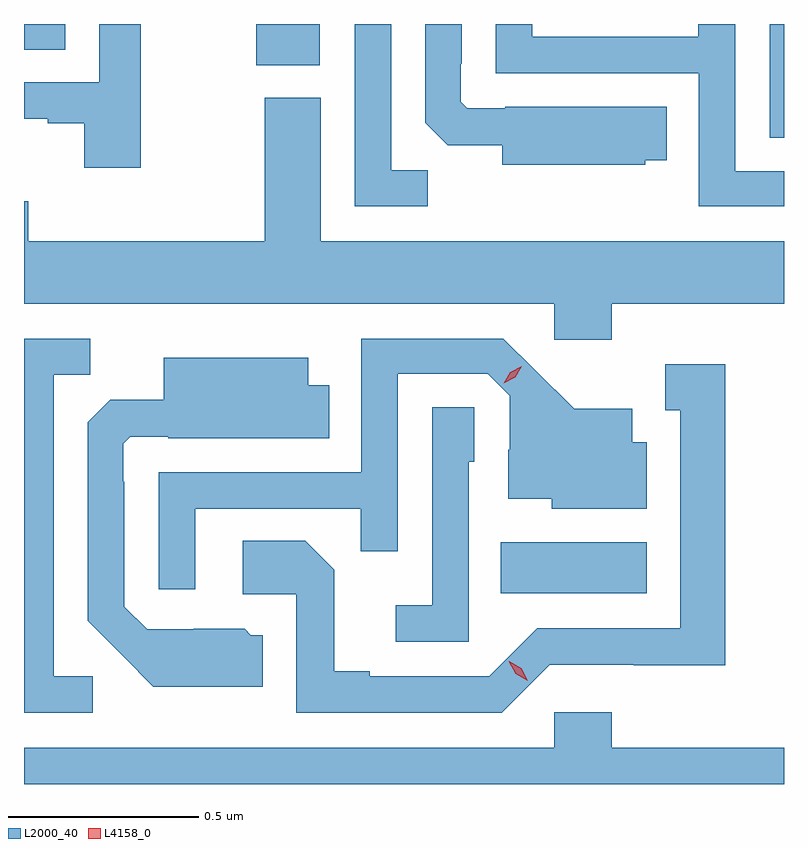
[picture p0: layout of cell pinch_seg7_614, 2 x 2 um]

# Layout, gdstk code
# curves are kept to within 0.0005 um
import gdstk
lib = gdstk.Library(unit=1e-6, precision=1e-09)
def R(c, l, rs):  # rectangles x0, y0, x1, y1
    for r in rs: c.add(gdstk.rectangle(r[:2], r[2:], *l))
def P(c, l, *ps):  # polygons
    for p in ps: c.add(gdstk.Polygon(p, *l))
L2000_40 = (2000, 40)
L4158_0 = (4158, 0)

pinch_seg7_614 = lib.new_cell('pinch_seg7_614')
R(pinch_seg7_614, L2000_40, [(123.382,1049.138,123.766,1049.272), (124.089,1050.337,124.127,1050.636), (122.738,1050.527,122.905,1050.636), (122.127,1050.568,122.236,1050.636)])
P(pinch_seg7_614, L2000_40, [(124.127,1050.249),(123.999,1050.249),(123.999,1050.636),(123.901,1050.636),(123.901,1050.603),(123.465,1050.603),(123.465,1050.636),(123.369,1050.636),(123.369,1050.507),(123.903,1050.507),(123.903,1050.156),(124.127,1050.156)],
  [(123.762,1050.278),(123.818,1050.278),(123.818,1050.418),(123.394,1050.418),(123.394,1050.414),(123.294,1050.414),(123.276,1050.432),(123.276,1050.532),(123.279,1050.532),(123.279,1050.636),(123.183,1050.636),(123.183,1050.376),(123.242,1050.317),(123.386,1050.317),(123.386,1050.266),(123.762,1050.266)],
  [(122.434,1050.636),(122.325,1050.636),(122.325,1050.483),(122.127,1050.483),(122.127,1050.387),(122.189,1050.387),(122.189,1050.375),(122.285,1050.375),(122.285,1050.258),(122.434,1050.258)],
  [(123.189,1050.251),(123.093,1050.251),(123.093,1050.636),(122.997,1050.636),(122.997,1050.156),(123.189,1050.156)],
  [(123.674,1049.9),(124.127,1049.9),(124.127,1050.064),(122.908,1050.064),(122.908,1050.442),(122.761,1050.442),(122.761,1050.064),(122.138,1050.064),(122.138,1050.17),(122.127,1050.17),(122.127,1049.9),(123.522,1049.9),(123.522,1049.805),(123.674,1049.805)],
  [(122.308,1048.92),(122.205,1048.92),(122.205,1049.713),(122.301,1049.713),(122.301,1049.808),(122.127,1049.808),(122.127,1048.824),(122.308,1048.824)],
  [(122.577,1049.361),(123.013,1049.361),(123.013,1049.248),(123.111,1049.248),(123.111,1049.715),(123.348,1049.715),(123.405,1049.658),(123.405,1049.516),(123.401,1049.516),(123.401,1049.387),(123.516,1049.387),(123.516,1049.36),(123.766,1049.36),(123.766,1049.536),(123.727,1049.536),(123.727,1049.623),(123.575,1049.623),(123.388,1049.808),(123.015,1049.808),(123.015,1049.457),(122.481,1049.457),(122.481,1049.148),(122.577,1049.148)],
  [(122.755,1049.028),(122.724,1049.028),(122.708,1049.044),(122.574,1049.044),(122.574,1049.043),(122.451,1049.043),(122.391,1049.103),(122.391,1049.432),(122.388,1049.432),(122.388,1049.532),(122.406,1049.55),(122.506,1049.55),(122.506,1049.546),(122.93,1049.546),(122.93,1049.686),(122.875,1049.686),(122.875,1049.758),(122.495,1049.758),(122.495,1049.647),(122.354,1049.647),(122.295,1049.588),(122.295,1049.066),(122.467,1048.892),(122.755,1048.892)],
  [(123.51,1048.95),(123.732,1048.95),(123.732,1048.949),(123.973,1048.949),(123.973,1049.74),(123.815,1049.74),(123.815,1049.619),(123.854,1049.619),(123.854,1049.046),(123.477,1049.046),(123.351,1048.92),(123.037,1048.92),(123.037,1048.933),(122.943,1048.933),(122.943,1049.2),(122.867,1049.276),(122.703,1049.276),(122.703,1049.136),(122.844,1049.136),(122.844,1048.824),(123.384,1048.824)],
  [(123.297,1049.484),(123.312,1049.484),(123.312,1049.627),(123.201,1049.627),(123.201,1049.107),(123.105,1049.107),(123.105,1049.01),(123.297,1049.01)],
  [(124.127,1048.732),(123.674,1048.732),(123.674,1048.825),(123.522,1048.825),(123.522,1048.732),(122.127,1048.732),(122.127,1048.636),(124.127,1048.636)])
P(pinch_seg7_614, L4158_0, [(123.453,1048.908),(123.421,1048.926),(123.403,1048.959),(123.403,1048.959),(123.404,1048.959),(123.435,1048.94),(123.453,1048.908),(123.453,1048.908)],
  [(123.389,1049.69),(123.389,1049.69),(123.406,1049.72),(123.437,1049.736),(123.437,1049.736),(123.437,1049.736),(123.42,1049.706),(123.389,1049.69)])

lib.write_gds('pinch_seg7_614.gds')
